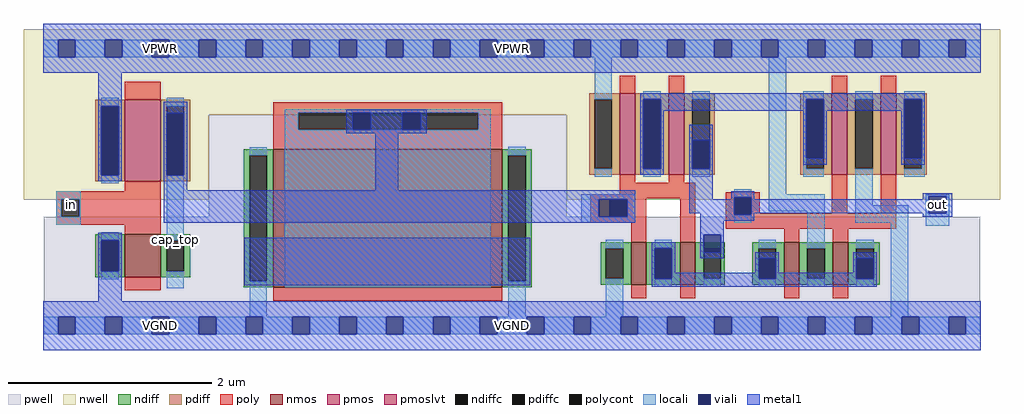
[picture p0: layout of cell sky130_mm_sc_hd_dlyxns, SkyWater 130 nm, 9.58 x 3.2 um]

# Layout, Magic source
magic
tech sky130A
magscale 1 2
<< nwell >>
rect -38 414 1878 582
rect -38 247 325 414
rect 1027 247 1878 414
<< pwell >>
rect 325 214 1027 414
rect 1 -17 1839 214
<< nmos >>
rect 160 95 230 179
rect 451 75 901 346
rect 1154 80 1184 164
rect 1250 80 1280 164
rect 1454 80 1484 164
rect 1550 80 1580 164
<< pmos >>
rect 1132 296 1162 456
rect 1228 296 1258 456
rect 1548 296 1578 456
rect 1644 296 1674 456
<< pmoslvt >>
rect 160 283 230 443
<< ndiff >>
rect 393 334 451 346
rect 102 167 160 179
rect 102 107 114 167
rect 148 107 160 167
rect 102 95 160 107
rect 230 167 288 179
rect 230 107 242 167
rect 276 107 288 167
rect 230 95 288 107
rect 393 87 405 334
rect 439 87 451 334
rect 393 75 451 87
rect 901 334 959 346
rect 901 87 913 334
rect 947 87 959 334
rect 901 75 959 87
rect 1094 152 1154 164
rect 1094 92 1104 152
rect 1138 92 1154 152
rect 1094 80 1154 92
rect 1184 152 1250 164
rect 1184 92 1200 152
rect 1234 92 1250 152
rect 1184 80 1250 92
rect 1280 152 1338 164
rect 1280 92 1296 152
rect 1330 92 1338 152
rect 1280 80 1338 92
rect 1392 152 1454 164
rect 1392 92 1404 152
rect 1438 92 1454 152
rect 1392 80 1454 92
rect 1484 152 1550 164
rect 1484 92 1500 152
rect 1534 92 1550 152
rect 1484 80 1550 92
rect 1580 152 1642 164
rect 1580 92 1596 152
rect 1630 92 1642 152
rect 1580 80 1642 92
<< pdiff >>
rect 1072 444 1132 456
rect 102 431 160 443
rect 102 295 114 431
rect 148 295 160 431
rect 102 283 160 295
rect 230 431 288 443
rect 230 295 242 431
rect 276 295 288 431
rect 230 283 288 295
rect 1072 308 1082 444
rect 1116 308 1132 444
rect 1072 296 1132 308
rect 1162 444 1228 456
rect 1162 308 1178 444
rect 1212 308 1228 444
rect 1162 296 1228 308
rect 1258 444 1318 456
rect 1258 308 1274 444
rect 1308 308 1318 444
rect 1258 296 1318 308
rect 1486 444 1548 456
rect 1486 308 1498 444
rect 1532 308 1548 444
rect 1486 296 1548 308
rect 1578 444 1644 456
rect 1578 308 1594 444
rect 1628 308 1644 444
rect 1578 296 1644 308
rect 1674 444 1734 456
rect 1674 308 1690 444
rect 1724 308 1734 444
rect 1674 296 1734 308
<< ndiffc >>
rect 114 107 148 167
rect 242 107 276 167
rect 405 87 439 334
rect 913 87 947 334
rect 1104 92 1138 152
rect 1200 92 1234 152
rect 1296 92 1330 152
rect 1404 92 1438 152
rect 1500 92 1534 152
rect 1596 92 1630 152
<< pdiffc >>
rect 114 295 148 431
rect 242 295 276 431
rect 1082 308 1116 444
rect 1178 308 1212 444
rect 1274 308 1308 444
rect 1498 308 1532 444
rect 1594 308 1628 444
rect 1690 308 1724 444
<< poly >>
rect 160 443 230 479
rect 1132 456 1162 490
rect 1228 456 1258 490
rect 1548 456 1578 490
rect 1644 456 1674 490
rect 451 418 901 438
rect 451 384 500 418
rect 854 384 901 418
rect 451 346 901 384
rect 160 264 230 283
rect 25 248 230 264
rect 25 214 35 248
rect 70 214 230 248
rect 25 198 230 214
rect 160 179 230 198
rect 160 69 230 95
rect 1132 280 1162 296
rect 1228 280 1258 296
rect 1132 258 1280 280
rect 1074 250 1280 258
rect 1074 248 1184 250
rect 1074 214 1112 248
rect 1146 214 1184 248
rect 1074 202 1184 214
rect 1154 164 1184 202
rect 1250 164 1280 250
rect 1340 252 1406 262
rect 1340 218 1356 252
rect 1390 220 1406 252
rect 1548 220 1578 296
rect 1644 220 1674 296
rect 1390 218 1674 220
rect 1340 190 1674 218
rect 1454 164 1484 190
rect 1550 164 1580 190
rect 451 49 901 75
rect 1154 54 1184 80
rect 1250 54 1280 80
rect 1454 54 1484 80
rect 1550 54 1580 80
<< polycont >>
rect 500 384 854 418
rect 35 214 70 248
rect 1112 214 1146 248
rect 1356 218 1390 252
<< locali >>
rect 0 527 29 561
rect 63 527 121 561
rect 155 527 213 561
rect 247 527 305 561
rect 339 527 397 561
rect 431 527 489 561
rect 523 527 581 561
rect 615 527 673 561
rect 707 527 765 561
rect 799 527 857 561
rect 891 527 949 561
rect 983 527 1041 561
rect 1075 527 1133 561
rect 1167 527 1225 561
rect 1259 527 1317 561
rect 1351 527 1409 561
rect 1443 527 1501 561
rect 1535 527 1593 561
rect 1627 527 1685 561
rect 1719 527 1777 561
rect 1811 527 1840 561
rect 114 431 148 447
rect 114 279 148 295
rect 242 431 276 447
rect 1082 444 1116 527
rect 474 418 878 425
rect 474 384 500 418
rect 854 384 878 418
rect 25 248 73 264
rect 25 214 35 248
rect 70 214 73 248
rect 25 198 73 214
rect 114 167 148 183
rect 114 91 148 107
rect 242 167 276 295
rect 242 73 276 107
rect 405 334 439 350
rect 405 17 439 87
rect 474 75 878 384
rect 913 334 947 351
rect 1082 292 1116 308
rect 1178 444 1212 460
rect 1178 292 1212 308
rect 1274 444 1308 460
rect 1274 292 1308 308
rect 1056 248 1162 258
rect 1056 214 1090 248
rect 1146 214 1162 248
rect 1056 202 1162 214
rect 1356 252 1390 268
rect 1424 258 1458 527
rect 1492 444 1532 460
rect 1492 308 1498 444
rect 1492 292 1532 308
rect 1594 444 1628 460
rect 1424 224 1534 258
rect 1356 202 1390 218
rect 913 17 947 87
rect 1104 152 1138 168
rect 1104 17 1138 92
rect 1200 152 1234 168
rect 1200 76 1234 92
rect 1296 76 1330 92
rect 1404 152 1438 168
rect 1404 76 1438 92
rect 1500 152 1534 224
rect 1594 236 1628 308
rect 1690 444 1730 460
rect 1724 308 1730 444
rect 1690 292 1730 308
rect 1732 254 1778 258
rect 1594 202 1698 236
rect 1500 76 1534 92
rect 1596 152 1630 168
rect 1596 76 1630 92
rect 1664 17 1698 202
rect 1732 220 1738 254
rect 1772 220 1778 254
rect 1732 196 1778 220
rect 0 -17 29 17
rect 63 -17 121 17
rect 155 -17 213 17
rect 247 -17 305 17
rect 339 -17 397 17
rect 431 -17 489 17
rect 523 -17 581 17
rect 615 -17 673 17
rect 707 -17 765 17
rect 799 -17 857 17
rect 891 -17 949 17
rect 983 -17 1041 17
rect 1075 -17 1133 17
rect 1167 -17 1225 17
rect 1259 -17 1317 17
rect 1351 -17 1409 17
rect 1443 -17 1501 17
rect 1535 -17 1593 17
rect 1627 -17 1685 17
rect 1719 -17 1777 17
rect 1811 -17 1840 17
<< viali >>
rect 29 527 63 561
rect 121 527 155 561
rect 213 527 247 561
rect 305 527 339 561
rect 397 527 431 561
rect 489 527 523 561
rect 581 527 615 561
rect 673 527 707 561
rect 765 527 799 561
rect 857 527 891 561
rect 949 527 983 561
rect 1041 527 1075 561
rect 1133 527 1167 561
rect 1225 527 1259 561
rect 1317 527 1351 561
rect 1409 527 1443 561
rect 1501 527 1535 561
rect 1593 527 1627 561
rect 1685 527 1719 561
rect 1777 527 1811 561
rect 114 295 148 431
rect 242 295 276 417
rect 607 384 643 418
rect 705 384 741 418
rect 114 107 148 167
rect 1178 308 1212 444
rect 1274 308 1308 364
rect 1090 214 1112 248
rect 1112 214 1146 248
rect 1356 218 1390 252
rect 1498 328 1532 444
rect 1200 92 1234 152
rect 1296 152 1330 178
rect 1296 144 1330 152
rect 1404 92 1438 132
rect 1690 328 1724 444
rect 1596 92 1630 132
rect 1738 220 1772 254
rect 29 -17 63 17
rect 121 -17 155 17
rect 213 -17 247 17
rect 305 -17 339 17
rect 397 -17 431 17
rect 489 -17 523 17
rect 581 -17 615 17
rect 673 -17 707 17
rect 765 -17 799 17
rect 857 -17 891 17
rect 949 -17 983 17
rect 1041 -17 1075 17
rect 1133 -17 1167 17
rect 1225 -17 1259 17
rect 1317 -17 1351 17
rect 1409 -17 1443 17
rect 1501 -17 1535 17
rect 1593 -17 1627 17
rect 1685 -17 1719 17
rect 1777 -17 1811 17
<< metal1 >>
rect 0 561 1840 592
rect 0 527 29 561
rect 63 527 121 561
rect 155 527 213 561
rect 247 527 305 561
rect 339 527 397 561
rect 431 527 489 561
rect 523 527 581 561
rect 615 527 673 561
rect 707 527 765 561
rect 799 527 857 561
rect 891 527 949 561
rect 983 527 1041 561
rect 1075 527 1133 561
rect 1167 527 1225 561
rect 1259 527 1317 561
rect 1351 527 1409 561
rect 1443 527 1501 561
rect 1535 527 1593 561
rect 1627 527 1685 561
rect 1719 527 1777 561
rect 1811 527 1840 561
rect 0 496 1840 527
rect 108 431 154 496
rect 1172 444 1730 456
rect 108 295 114 431
rect 148 295 154 431
rect 108 283 154 295
rect 236 417 282 439
rect 236 295 242 417
rect 276 295 282 417
rect 595 418 753 424
rect 595 384 607 418
rect 643 384 705 418
rect 741 384 753 418
rect 595 378 753 384
rect 236 266 282 295
rect 652 266 697 378
rect 1172 308 1178 444
rect 1212 422 1498 444
rect 1212 308 1218 422
rect 1172 296 1218 308
rect 1268 364 1314 394
rect 1268 308 1274 364
rect 1308 308 1314 364
rect 1492 328 1498 422
rect 1532 422 1690 444
rect 1532 328 1538 422
rect 1492 316 1538 328
rect 1684 328 1690 422
rect 1724 328 1730 444
rect 1684 316 1730 328
rect 236 248 1162 266
rect 236 214 1090 248
rect 1146 214 1162 248
rect 1268 248 1314 308
rect 1350 252 1396 264
rect 1350 248 1356 252
rect 1268 220 1356 248
rect 236 202 1162 214
rect 1290 218 1356 220
rect 1390 248 1396 252
rect 1726 254 1784 260
rect 1726 248 1738 254
rect 1390 220 1738 248
rect 1772 220 1784 254
rect 1390 218 1396 220
rect 1290 206 1396 218
rect 1726 214 1784 220
rect 108 167 154 182
rect 1290 178 1336 206
rect 108 107 114 167
rect 148 107 154 167
rect 108 48 154 107
rect 394 79 956 172
rect 1194 152 1240 164
rect 1194 92 1200 152
rect 1234 104 1240 152
rect 1290 144 1296 178
rect 1330 144 1336 178
rect 1290 132 1336 144
rect 1398 132 1444 144
rect 1398 104 1404 132
rect 1234 92 1404 104
rect 1438 104 1444 132
rect 1590 132 1636 144
rect 1590 104 1596 132
rect 1438 92 1596 104
rect 1630 92 1636 132
rect 1194 76 1636 92
rect 0 17 1840 48
rect 0 -17 29 17
rect 63 -17 121 17
rect 155 -17 213 17
rect 247 -17 305 17
rect 339 -17 397 17
rect 431 -17 489 17
rect 523 -17 581 17
rect 615 -17 673 17
rect 707 -17 765 17
rect 799 -17 857 17
rect 891 -17 949 17
rect 983 -17 1041 17
rect 1075 -17 1133 17
rect 1167 -17 1225 17
rect 1259 -17 1317 17
rect 1351 -17 1409 17
rect 1443 -17 1501 17
rect 1535 -17 1593 17
rect 1627 -17 1685 17
rect 1719 -17 1777 17
rect 1811 -17 1840 17
rect 0 -48 1840 -17
<< labels >>
flabel metal1 s 0 496 1840 592 0 FreeSans 160 0 0 0 VPWR
port 3 nsew power bidirectional abutment
flabel metal1 s 213 527 247 561 0 FreeSans 160 0 0 0 VPWR
port 3 nsew power bidirectional abutment
flabel metal1 s 213 -17 247 17 0 FreeSans 160 0 0 0 VGND
port 4 nsew ground bidirectional abutment
flabel metal1 s 0 -48 1840 48 0 FreeSans 160 0 0 0 VGND
port 4 nsew ground bidirectional abutment
flabel nwell s 213 527 247 561 0 FreeSans 160 0 0 0 VPB
port 5 nsew power bidirectional
flabel pwell s 213 -17 247 17 0 FreeSans 160 0 0 0 VNB
port 6 nsew ground bidirectional
flabel metal1 s 1738 220 1772 254 0 FreeSans 160 0 0 0 out
port 2 nsew signal output
flabel locali s 38 221 72 255 7 FreeSans 160 0 0 0 in
port 1 nsew signal input
rlabel locali 242 169 276 169 1 cap_top
<< properties >>
string FIXED_BBOX 0 0 1840 544
string LEFclass CORE
string LEForigin 0 0
string LEFsite unithd
string LEFsource USER
<< end >>
